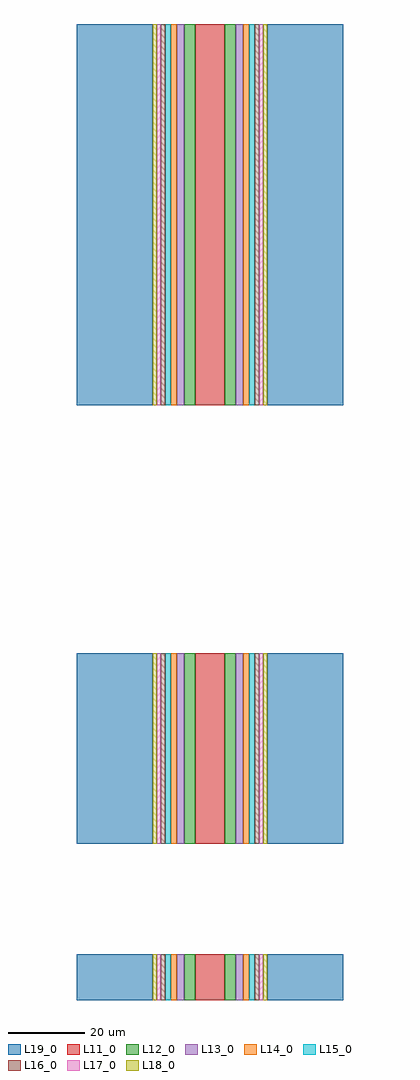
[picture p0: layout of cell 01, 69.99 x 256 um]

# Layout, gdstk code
import gdstk
lib = gdstk.Library(unit=1e-6, precision=1e-09)
def R(c, l, rs):  # rectangles x0, y0, x1, y1
    for r in rs: c.add(gdstk.rectangle(r[:2], r[2:], *l))
L11_0 = (11, 0)
L12_0 = (12, 0)
L13_0 = (13, 0)
L14_0 = (14, 0)
L15_0 = (15, 0)
L16_0 = (16, 0)
L17_0 = (17, 0)
L18_0 = (18, 0)
L19_0 = (19, 0)

c_01 = lib.new_cell('01')
R(c_01, L11_0, [(-3.906,-6,3.906,6), (-3.906,35,3.906,85), (-3.906,150,3.906,250)])
R(c_01, L12_0, [(-6.795,-6,-3.906,6), (3.906,-6,6.795,6), (-6.795,35,-3.906,85), (3.906,35,6.795,85), (-6.795,150,-3.906,250), (3.906,150,6.795,250)])
R(c_01, L13_0, [(-8.761,-6,-6.795,6), (6.795,-6,8.761,6), (-8.761,35,-6.795,85), (6.795,35,8.761,85), (-8.761,150,-6.795,250), (6.795,150,8.761,250)])
R(c_01, L14_0, [(-10.345,-6,-8.761,6), (8.761,-6,10.345,6), (-10.345,35,-8.761,85), (8.761,35,10.345,85), (-10.345,150,-8.761,250), (8.761,150,10.345,250)])
R(c_01, L15_0, [(-11.703,-6,-10.345,6), (10.345,-6,11.703,6), (-11.703,35,-10.345,85), (10.345,35,11.703,85), (-11.703,150,-10.345,250), (10.345,150,11.703,250)])
R(c_01, L16_0, [(-12.907,-6,-11.703,6), (11.703,-6,12.907,6), (-12.907,35,-11.703,85), (11.703,35,12.907,85), (-12.907,150,-11.703,250), (11.703,150,12.907,250)])
R(c_01, L17_0, [(-13.996,-6,-12.907,6), (12.907,-6,13.996,6), (-13.996,35,-12.907,85), (12.907,35,13.996,85), (-13.996,150,-12.907,250), (12.907,150,13.996,250)])
R(c_01, L18_0, [(-14.996,-6,-13.996,6), (13.996,-6,14.996,6), (-14.996,35,-13.996,85), (13.996,35,14.996,85), (-14.996,150,-13.996,250), (13.996,150,14.996,250)])
R(c_01, L19_0, [(-34.996,-6,-14.996,6), (14.996,-6,34.996,6), (-34.996,35,-14.996,85), (14.996,35,34.996,85), (-34.996,150,-14.996,250), (14.996,150,34.996,250)])

lib.write_gds('01.gds')
